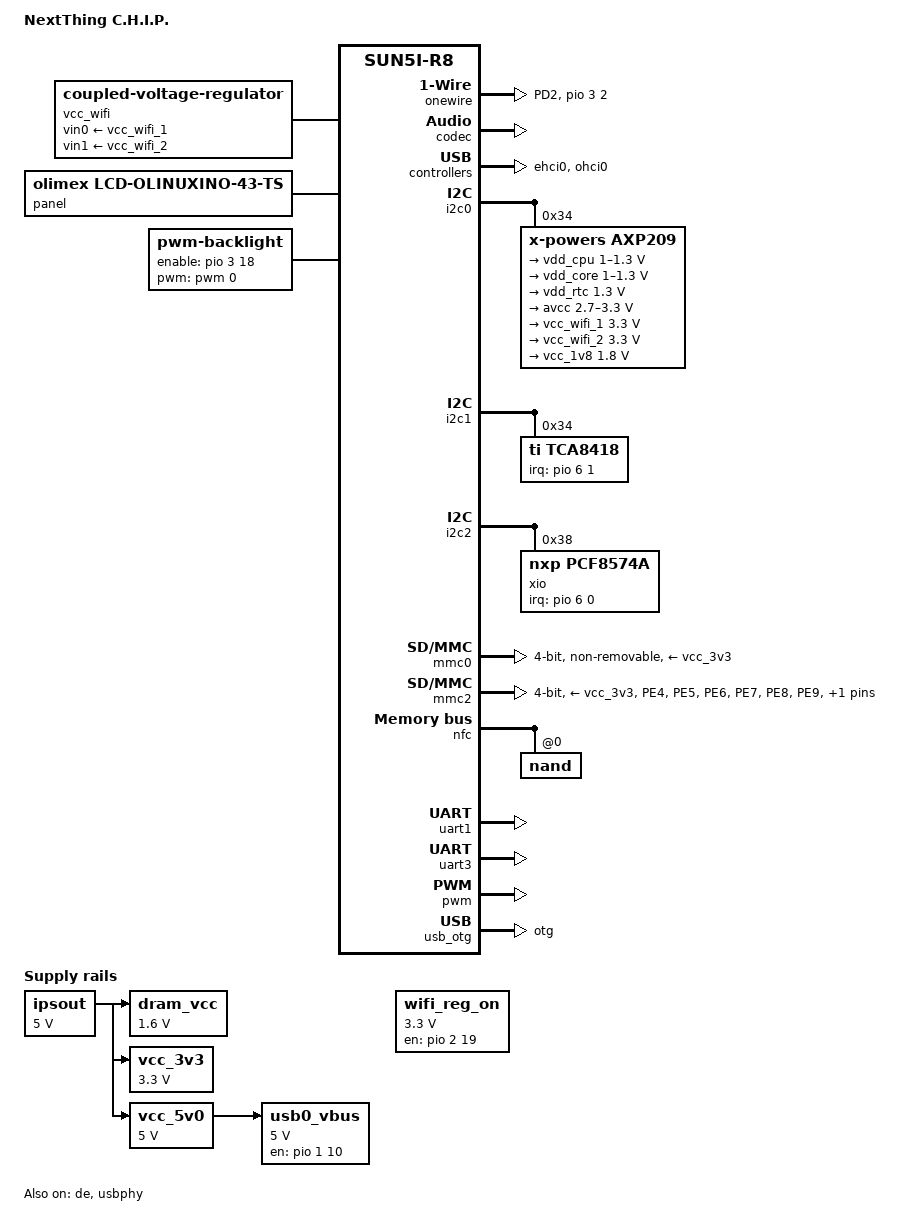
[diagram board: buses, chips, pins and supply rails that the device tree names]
/*
 * Copyright 2015 Maxime Ripard
 *
 * Maxime Ripard <maxime.ripard@free-electrons.com>
 *
 * This file is dual-licensed: you can use it either under the terms
 * of the GPL or the X11 license, at your option. Note that this dual
 * licensing only applies to this file, and not this project as a
 * whole.
 *
 *  a) This file is free software; you can redistribute it and/or
 *     modify it under the terms of the GNU General Public License as
 *     published by the Free Software Foundation; either version 2 of the
 *     License, or (at your option) any later version.
 *
 *     This file is distributed in the hope that it will be useful,
 *     but WITHOUT ANY WARRANTY; without even the implied warranty of
 *     MERCHANTABILITY or FITNESS FOR A PARTICULAR PURPOSE.  See the
 *     GNU General Public License for more details.
 *
 * Or, alternatively,
 *
 *  b) Permission is hereby granted, free of charge, to any person
 *     obtaining a copy of this software and associated documentation
 *     files (the "Software"), to deal in the Software without
 *     restriction, including without limitation the rights to use,
 *     copy, modify, merge, publish, distribute, sublicense, and/or
 *     sell copies of the Software, and to permit persons to whom the
 *     Software is furnished to do so, subject to the following
 *     conditions:
 *
 *     The above copyright notice and this permission notice shall be
 *     included in all copies or substantial portions of the Software.
 *
 *     THE SOFTWARE IS PROVIDED "AS IS", WITHOUT WARRANTY OF ANY KIND,
 *     EXPRESS OR IMPLIED, INCLUDING BUT NOT LIMITED TO THE WARRANTIES
 *     OF MERCHANTABILITY, FITNESS FOR A PARTICULAR PURPOSE AND
 *     NONINFRINGEMENT. IN NO EVENT SHALL THE AUTHORS OR COPYRIGHT
 *     HOLDERS BE LIABLE FOR ANY CLAIM, DAMAGES OR OTHER LIABILITY,
 *     WHETHER IN AN ACTION OF CONTRACT, TORT OR OTHERWISE, ARISING
 *     FROM, OUT OF OR IN CONNECTION WITH THE SOFTWARE OR THE USE OR
 *     OTHER DEALINGS IN THE SOFTWARE.
 */

/dts-v1/;
#include "sun5i-r8.dtsi"

#include <dt-bindings/gpio/gpio.h>
#include <dt-bindings/interrupt-controller/irq.h>
#include <dt-bindings/input/input.h>

/ {
	model = "NextThing C.H.I.P.";
	compatible = "nextthing,chip", "allwinner,sun5i-r8";

	aliases {
		i2c0 = &i2c0;
		i2c1 = &i2c1;
		i2c2 = &i2c2;
		serial0 = &uart1;
		serial1 = &uart3;
	};

	chosen {
		stdout-path = "serial0:115200n8";
	};

	onewire {
		compatible = "w1-gpio";
		gpios = <&pio 3 2 GPIO_ACTIVE_HIGH>; /* PD2 */
		pinctrl-names = "default";
		pinctrl-0 = <&chip_w1_pin>;
	};

	dram_vcc: dram_vcc {
		compatible = "regulator-fixed";
		regulator-name = "dram-vcc";
		regulator-min-microvolt = <1600000>;
		regulator-max-microvolt = <1600000>;
		vin-supply = <&ipsout>;
		regulator-always-on;
	};

	ipsout: ipsout {
		compatible = "regulator-fixed";
		regulator-name = "ipsout";
		regulator-min-microvolt = <5000000>;
		regulator-max-microvolt = <5000000>;
		regulator-always-on;
	};

	usb0_vbus: usb0_vbus {
		compatible = "regulator-fixed";
		pinctrl-names = "default";
		pinctrl-0 = <&chip_vbus_pin>;

		regulator-name = "vbus-usb0";
		regulator-min-microvolt = <5000000>;
		regulator-max-microvolt = <5000000>;
		vin-supply = <&vcc_5v0>;
		gpio = <&pio 1 10 GPIO_ACTIVE_HIGH>; /* PB10 */
		enable-active-high;
	};

	vcc_3v3: vcc3v3 {
		compatible = "regulator-fixed";
		regulator-name = "vcc-3v3";
		regulator-min-microvolt = <3300000>;
		regulator-max-microvolt = <3300000>;
		vin-supply = <&ipsout>;
		regulator-always-on;
	};

	vcc_5v0: vcc5v0 {
		compatible = "regulator-fixed";
		regulator-name = "vcc-5v0";
		regulator-min-microvolt = <5000000>;
		regulator-max-microvolt = <5000000>;
		vin-supply = <&ipsout>;
		regulator-always-on;
	};

	/*
	 * This is actually an active-low reset line for the WLAN
	 * part of the WiFi/BT CHIP.
	 *
	 * Just like for LDO3 and LDO4, we cannot tie it to the DT
	 * node of the SDIO device for now, as there is no bindings
	 * for it, so we need to have this hack.
	 */
	wifi_reg_on: wifi_reg_on {
		compatible = "regulator-fixed";
		pinctrl-names = "default";
		pinctrl-0 = <&chip_wifi_reg_on_pin>;

		regulator-name = "wifi-reg-on";
		regulator-min-microvolt = <3300000>;
		regulator-max-microvolt = <3300000>;
		regulator-always-on;
		gpio = <&pio 2 19 GPIO_ACTIVE_HIGH>; /* PC19 */
		enable-active-high;
	};

	/*
	 * Both LDO3 and LDO4 are used in parallel to power up the
	 * WiFi/BT Chip.
	 *
	 * If those are not enabled, the SDIO part will not enumerate,
	 * and since there's no way currently to pass DT infos to an
	 * SDIO device, we cannot really do better than this ugly hack
	 * for now.
	 */

	vcc_wifi: wifi_reg {
		compatible = "coupled-voltage-regulator";
		regulator-name = "vcc-wifi";
		vin0-supply = <&vcc_wifi_1>;
		vin1-supply = <&vcc_wifi_2>;
		regulator-always-on;
	};

	panel: panel {
		compatible = "olimex,lcd-olinuxino-43-ts";
	};
	backlight: backlight {
		compatible = "pwm-backlight";
		brightness-levels = <0 1 2 4 8 12 16 24 28 32 100>;
		default-brightness-level = <8>;
	
		pinctrl-names = "default";
		pinctrl-0 = <&chip_bl_en>;
	};
};

&codec {
	routing =
		"Headphone Jack", "HP Left",
		"Headphone Jack", "HP Right";
	status = "okay";
};

&de {
	allwinner,panel = <&panel>;
	status = "okay";
};

&ehci0 {
	status = "okay";
};

&i2c0 {
	pinctrl-names = "default";
	pinctrl-0 = <&i2c0_pins_a>;
	status = "okay";

	axp209: pmic@34 {
		compatible = "x-powers,axp209";
		reg = <0x34>;

		/*
		 * The interrupt is routed through the "External Fast
                 * Interrupt Request" pin (ball G13 of the module)
                 * directly to the main interrupt controller, without
                 * any other controller interfering.
		 */
		interrupts = <0>;

		interrupt-controller;
		#interrupt-cells = <1>;

		regulators {
			vdd_cpu: dcdc2 {
				regulator-min-microvolt = <1000000>;
				regulator-max-microvolt = <1300000>;
				regulator-name = "cpuvdd";
				regulator-always-on;
			};

			vdd_core: dcdc3 {
				regulator-min-microvolt = <1000000>;
				regulator-max-microvolt = <1300000>;
				regulator-name = "corevdd";
				regulator-always-on;
			};

			vdd_rtc: ldo1 {
				regulator-min-microvolt = <1300000>;
				regulator-max-microvolt = <1300000>;
				regulator-name = "rtcvdd";
				regulator-always-on;
			};

			avcc: ldo2 {
				regulator-min-microvolt = <2700000>;
				regulator-max-microvolt = <3300000>;
				regulator-name = "avcc";
				regulator-always-on;
			};

			vcc_wifi_1: ldo3 {
				regulator-min-microvolt = <3300000>;
				regulator-max-microvolt = <3300000>;
				regulator-name = "vcc-wifi-1";
			};

			vcc_wifi_2: ldo4 {
				regulator-min-microvolt = <3300000>;
				regulator-max-microvolt = <3300000>;
				regulator-name = "vcc-wifi-2";
			};

			vcc_1v8: ldo5 {
				regulator-min-microvolt = <1800000>;
				regulator-max-microvolt = <1800000>;
				regulator-name = "vcc-1v8";
			};
		};
	};
};

/*
 * i2c1 is routed to the external pins and doesn't have any device
 * attached to it on the C.H.I.P itself.
 */
&i2c1 {
	pinctrl-names = "default";
	pinctrl-0 = <&i2c1_pins_a>;
	status = "okay";
};

&i2c2 {
	pinctrl-names = "default";
	pinctrl-0 = <&i2c2_pins_a>;
	status = "okay";

	xio: gpio@38 {
		compatible = "nxp,pcf8574a";
		reg = <0x38>;

		gpio-controller;
		#gpio-cells = <2>;

		interrupt-parent = <&pio>;
		interrupts = <6 0 IRQ_TYPE_EDGE_FALLING>;
		interrupt-controller;
		#interrupt-cells = <2>;
	};
};

&mmc0_pins_a {
	allwinner,pull = <SUN4I_PINCTRL_PULL_UP>;
};

&mmc0 {
	pinctrl-names = "default";
	pinctrl-0 = <&mmc0_pins_a>;
	vmmc-supply = <&vcc_3v3>;
	bus-width = <4>;
	non-removable;
	status = "okay";
};

&mmc2 { 
	vmmc-supply = <&vcc_3v3>;
	vqmmc-supply = <&vcc_3v3>;
	pinctrl-names = "default";
	compatible = "allwinner,sun5i-a13-mmc";
	pinctrl-0 = <&chip_sdio_pins>,  <&chip_sdio_cd>;
	bus-width = <4>;
	clocks = <&ahb_gates 10>,<&mmc2_clk 0>,<&mmc2_clk 1>,<&mmc2_clk 2>;
	// and go!
	status = "okay";
	//cd-gpios = <&pio 1 3 GPIO_ACTIVE_HIGH>;
	broken-cd; // doenst work with pchip
};


&nfc {
	pinctrl-names = "default";
	pinctrl-0 = <&nand_pins_a &nand_cs0_pins_a &nand_rb0_pins_a>;
	status = "okay";

	nand@0 {
		#address-cells = <2>;
		#size-cells = <2>;
		reg = <0>;
		allwinner,rb = <0>;
		nand-ecc-mode = "hw";
		nand-ecc-step-size = <1024>;
		nand-ecc-strength = <56>;
    /*
		nand-on-flash-bbt;
    */
		allwinner,randomize;

		spl@0 {
			label = "SPL";
			reg = /bits/ 64 <0x0 0x400000>;
		};

		spl-backup@400000 {
			label = "SPL.backup";
			reg = /bits/ 64 <0x400000 0x400000>;
		};

		u-boot@800000 {
			label = "U-Boot";
			reg = /bits/ 64 <0x800000 0x400000>;
		};

		env@c00000 {
			label = "env";
			reg = /bits/ 64 <0xc00000 0x400000>;
		};

		rootfs@1000000 {
			label = "rootfs";
			reg = /bits/ 64 <0x1000000 0x1ff000000>;
		};
	};
};

&ohci0 {
	status = "okay";
};

&otg_sram {
	status = "okay";
};

&pio { 

	chip_sdio_cd: mmc2_cd@0 {
		allwinner,pins = "PB3";
		allwinner,function = "gpio_in";
		allwinner,drive = <SUN4I_PINCTRL_10_MA>;
		allwinner,pull = <SUN4I_PINCTRL_PULL_UP>;
	};

	chip_sdio_pins: mmc2@42 {
		allwinner,pins = "PE4", "PE5", "PE6", "PE7", "PE8", "PE9";
		allwinner,function = "mmc2";
		allwinner,drive = <SUN4I_PINCTRL_30_MA>;
		allwinner,pull = <SUN4I_PINCTRL_PULL_UP>;	
	};

	mmc2_cd@0 {
		allwinner,pins = "PB3"; allwinner,function = "gpio_in";
		allwinner,drive = <SUN4I_PINCTRL_10_MA>;
		allwinner,pull = <SUN4I_PINCTRL_PULL_UP>;
	};


	chip_vbus_pin: chip_vbus_pin@0 {
	        allwinner,pins = "PB10";
	        allwinner,function = "gpio_out";
	        allwinner,drive = <SUN4I_PINCTRL_10_MA>;
	        allwinner,pull = <SUN4I_PINCTRL_NO_PULL>;
	};

	chip_wifi_reg_on_pin: chip_wifi_reg_on_pin@0 {
	        allwinner,pins = "PC19";
	        allwinner,function = "gpio_out";
	        allwinner,drive = <SUN4I_PINCTRL_10_MA>;
	        allwinner,pull = <SUN4I_PINCTRL_NO_PULL>;
	};

	chip_id_det_pin: chip_id_det_pin@0 {
	        allwinner,pins = "PG2";
	        allwinner,function = "gpio_in";
	        allwinner,drive = <SUN4I_PINCTRL_10_MA>;
	        allwinner,pull = <SUN4I_PINCTRL_NO_PULL>;
	};

	chip_w1_pin: chip_w1_pin@0 {
		allwinner,pins = "PD2";
		allwinner,function = "gpio_in";
	        allwinner,drive = <SUN4I_PINCTRL_10_MA>;
	        allwinner,pull = <SUN4I_PINCTRL_PULL_UP>;
	};
	chip_bl_en: chip_backlight_enable@0 {
		allwinner,pins = "PD18";
		allwinner,function = "gpio_out";
		allwinner,drive = <SUN4I_PINCTRL_10_MA>;
		allwinner,pull = <SUN4I_PINCTRL_NO_PULL>;
	};
};

&uart1 {
	pinctrl-names = "default";
	pinctrl-0 = <&uart1_pins_b>;
	status = "okay";
};

&uart3 {
	pinctrl-names = "default";
	pinctrl-0 = <&uart3_pins_a>,
		    <&uart3_pins_cts_rts_a>;
	status = "okay";
};

&pwm {
	pinctrl-names = "default";
	pinctrl-0 = <&pwm0_pins>;
	status = "okay";
};
&backlight {
	pwms = <&pwm 0 8000 1>;
	enable-gpios = <&pio 3 18 GPIO_ACTIVE_HIGH>;
};



&usb_otg {
	dr_mode = "otg";
	status = "okay";
};

&usbphy {
	pinctrl-names = "default";
	pinctrl-0 = <&chip_id_det_pin>;
	status = "okay";

	usb0_id_det-gpio = <&pio 6 2 GPIO_ACTIVE_HIGH>; /* PG2 */

	usb0_vbus-supply = <&usb0_vbus>;
	usb1_vbus-supply = <&vcc_5v0>;
};

&i2c1 {
        pinctrl-names = "default";
        pinctrl-0 = <&i2c1_pins_a>;
        status = "okay";
        /* keyboard scanner */
        tca8418@34 {
                compatible = "ti,tca8418";
                reg = <0x34>;
                /* the interrupt is specified as:
                        The first cell is the number of the bank
                        The second cell is the interrupt inside that bank
                        The third cell is used to specify flags
                */
                interrupt-parent = <&pio>;
                interrupts = <6 1 IRQ_TYPE_EDGE_FALLING>;    /* AP-EINT1 */
                keypad,num-rows = <6>;
                keypad,num-columns = <10>;
                keypad,autorepeat;
                linux,keymap = <
			MATRIX_KEY(0, 0, 13)
			MATRIX_KEY(0, 1, KEY_1)
			MATRIX_KEY(0, 2, KEY_2)
			MATRIX_KEY(0, 3, KEY_3)
			MATRIX_KEY(0, 4, KEY_4)
			MATRIX_KEY(0, 5, KEY_5)
			MATRIX_KEY(0, 6, KEY_6)
			MATRIX_KEY(0, 7, KEY_7)
			MATRIX_KEY(0, 8, KEY_8)
			MATRIX_KEY(0, 9, KEY_9)

			MATRIX_KEY(1, 0, KEY_Q)
			MATRIX_KEY(1, 1, KEY_W)
			MATRIX_KEY(1, 2, KEY_E)
			MATRIX_KEY(1, 3, KEY_R)
			MATRIX_KEY(1, 4, KEY_T)
			MATRIX_KEY(1, 5, KEY_Y)
			MATRIX_KEY(1, 6, KEY_U)
			MATRIX_KEY(1, 7, KEY_I)
			MATRIX_KEY(1, 8, KEY_O)
			MATRIX_KEY(1, 9, KEY_P)

			MATRIX_KEY(2, 0, KEY_A)
			MATRIX_KEY(2, 1, KEY_S)
			MATRIX_KEY(2, 2, KEY_D)
			MATRIX_KEY(2, 3, KEY_F)
			MATRIX_KEY(2, 4, KEY_G)
			MATRIX_KEY(2, 5, KEY_H)
			MATRIX_KEY(2, 6, KEY_J)
			MATRIX_KEY(2, 7, KEY_K)
			MATRIX_KEY(2, 8, KEY_L)
			MATRIX_KEY(2, 9, KEY_ENTER)

			MATRIX_KEY(3, 0, KEY_TAB)
			MATRIX_KEY(3, 1, KEY_Z)
			MATRIX_KEY(3, 2, KEY_X)
			MATRIX_KEY(3, 3, KEY_C)
			MATRIX_KEY(3, 4, KEY_V)
			MATRIX_KEY(3, 5, KEY_B)
			MATRIX_KEY(3, 6, KEY_N)
			MATRIX_KEY(3, 7, KEY_M)
			MATRIX_KEY(3, 8, KEY_UP)
			MATRIX_KEY(3, 9, KEY_DOWN)

			MATRIX_KEY(4, 0, KEY_ESC)
			MATRIX_KEY(4, 1, KEY_RIGHTALT)
			MATRIX_KEY(4, 2, KEY_LEFTALT)
			MATRIX_KEY(4, 3, KEY_SPACE)
			MATRIX_KEY(4, 4, KEY_RIGHTCTRL)
			MATRIX_KEY(4, 5, KEY_SLASH)
			MATRIX_KEY(4, 6, KEY_RIGHTSHIFT)
			MATRIX_KEY(4, 8, KEY_LEFT)
			MATRIX_KEY(4, 9, KEY_RIGHT)

			MATRIX_KEY(5, 0, KEY_LEFTSHIFT)
			MATRIX_KEY(5, 1, KEY_0)
			MATRIX_KEY(5, 2, KEY_KPMINUS )
			MATRIX_KEY(5, 3, KEY_BACKSPACE)
			MATRIX_KEY(5, 4, KEY_DOT)
                >;
        };
};


&rtp {
        allwinner,ts-attached;
};
